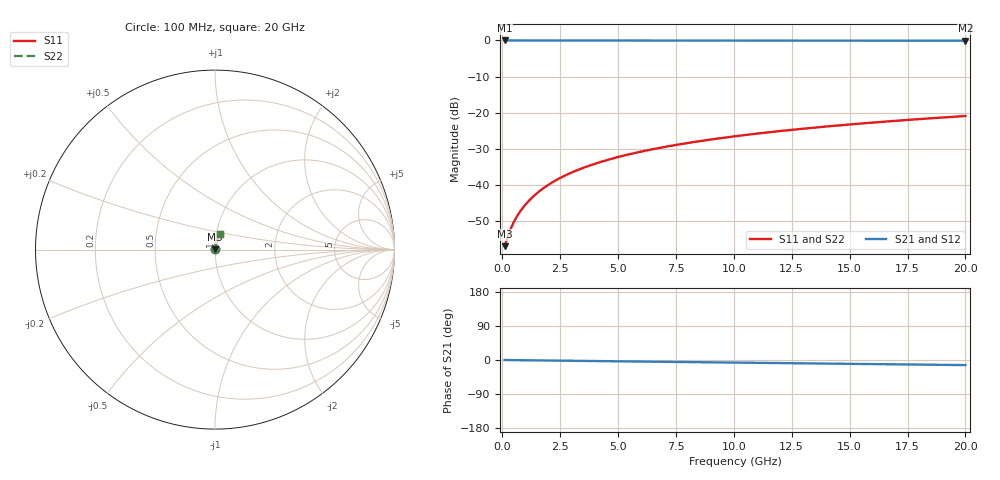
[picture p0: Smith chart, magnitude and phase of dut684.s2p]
! Touchstone file exported from HFSS 2026.1.0
!  File:  C:/ffzhzh/LocalFiles/Ansys_Project_Files/temp_train_BSMRDL_684_1783017574_4048.aedt
!  Generated:  02:40:52 AM Jul  3, 2026
!  Design:  BSMRDL
!  Project:  temp_train_BSMRDL_684_1783017574_4048
! Variables:
!  h_bsmrdl = 4.02um
!  h_ox = 20um
!  h_rdl = 5um
!  h_sub = 80um
!  h_tmrdl = 5um
!  h_tsv = 80um
!  h_via = 3um
!  l_bsmrdl = 207.61um
!  l_sub = 607.61um
!  l_tmrdl = 200um
!  m_sub = 200um
!  pitch = 26.69um
!  r_tsv = 6um
!  s_tmrdl = 10um
!  w_bsmrdl = 16.24um
!  w_sub = 500um
!  w_tmrdl = 12um
!  x_tsv_center1 = 206um
!  x_tsv_center2 = 429.85um
!  x_tsv_center3 = 641.85um
!  x_tsv_center4 = 865.7um
!  x_tsv_center5 = 1077.7um
!  x_tsv_center6 = 1301.55um
# GHz S MA R 50.000000
! Terminal data exported
! Port[1] = BSM_RDL1_1_T1
! Port[2] = BSM_RDL1_1_T2
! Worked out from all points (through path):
!   200 points, 100 MHz to 20 GHz, reference 50 ohm
!   highest |S21| = -0.01 dB at 100 MHz (marker M1); lowest = -0.1 dB at 20 GHz (marker M2)
!   group delay of S21, straight-line fit = 1.86 ps
!   lowest |S11| = -56.9 dB at 100 MHz (marker M3), VSWR 1.00, Z = 50.1 + j0.0597 ohm
!   |S11| at or under -10 dB: start of sweep to end of sweep
!   |S22| runs from -56.9 to -20.9 dB; largest |S21 - S12| = 2.1e-15
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0.1  0.001427 24.7  0.9987 -0.1  0.9987 -0.1  0.001427 24.7
! Gamma 0 0 0 0
! Port Impedance 50 0 50 0
0.3  0.002213 49.5  0.9986 -0.2  0.9986 -0.2  0.002213 49.5
0.4  0.002649 55.4  0.9985 -0.3  0.9985 -0.3  0.002649 55.4
0.5  0.003088 59.7  0.9985 -0.4  0.9985 -0.4  0.003088 59.7
0.6  0.003531 63.0  0.9984 -0.4  0.9984 -0.4  0.003531 63.0
0.8  0.004434 67.8  0.9984 -0.6  0.9984 -0.6  0.004434 67.8
1  0.005356 71.0  0.9983 -0.7  0.9983 -0.7  0.005356 71.0
1.2  0.006294 73.3  0.9983 -0.8  0.9983 -0.8  0.006294 73.3
1.4  0.007241 75.0  0.9982 -1.0  0.9982 -1.0  0.007241 75.0
1.7  0.008675 76.8  0.9982 -1.2  0.9982 -1.2  0.008675 76.8
2.2  0.01108 78.6  0.998 -1.5  0.998 -1.5  0.01108 78.6
2.8  0.01396 79.6  0.9979 -1.9  0.9979 -1.9  0.01396 79.6
3.5  0.01731 80.2  0.9976 -2.4  0.9976 -2.4  0.01731 80.2
4.2  0.02063 80.3  0.9973 -2.9  0.9973 -2.9  0.02063 80.3
5  0.02439 80.2  0.997 -3.5  0.997 -3.5  0.02439 80.2
5.9  0.02856 80.0  0.9966 -4.1  0.9966 -4.1  0.02856 80.0
6.8  0.03268 79.6  0.9962 -4.7  0.9962 -4.7  0.03268 79.6
8.3  0.03945 78.9  0.9955 -5.7  0.9955 -5.7  0.03945 78.9
10.1  0.04746 78.1  0.9947 -6.9  0.9947 -6.9  0.04746 78.1
13.4  0.06189 76.3  0.9931 -9.1  0.9931 -9.1  0.06189 76.3
16.7  0.07607 74.6  0.9915 -11.3  0.9915 -11.3  0.07607 74.6
20  0.09005 72.7  0.9898 -13.4  0.9898 -13.4  0.09005 72.7
